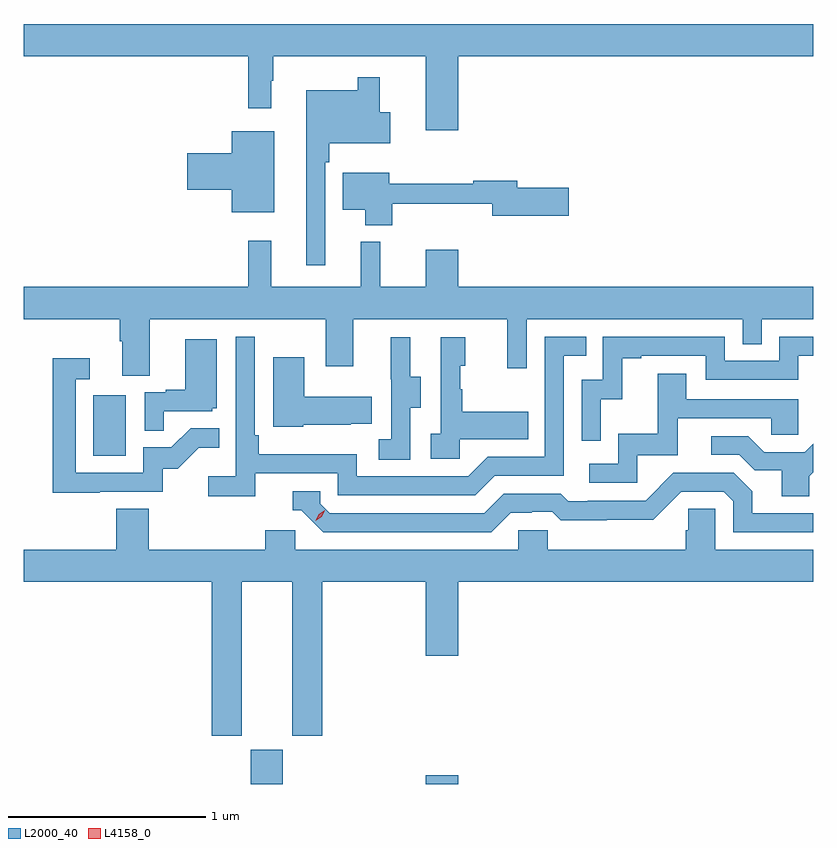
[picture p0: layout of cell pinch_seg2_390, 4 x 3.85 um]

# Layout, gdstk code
import gdstk
lib = gdstk.Library(unit=1e-6, precision=1e-09)
def R(c, l, rs):  # rectangles x0, y0, x1, y1
    for r in rs: c.add(gdstk.rectangle(r[:2], r[2:], *l))
def P(c, l, *ps):  # polygons
    for p in ps: c.add(gdstk.Polygon(p, *l))
L2000_40 = (2000, 40)
L4158_0 = (4158, 0)

pinch_seg2_390 = lib.new_cell('pinch_seg2_390')
R(pinch_seg2_390, L2000_40, [(967.316,606.652,967.48,606.825), (968.204,606.652,968.368,606.697), (966.518,608.316,966.682,608.623)])
P(pinch_seg2_390, L2000_40, [(968.368,610.34),(970.167,610.34),(970.167,610.504),(966.167,610.504),(966.167,610.34),(967.303,610.34),(967.303,610.077),(967.42,610.077),(967.42,610.217),(967.432,610.217),(967.432,610.34),(968.204,610.34),(968.204,609.966),(968.368,609.966)],
  [(967.695,609.803),(967.715,609.803),(967.715,609.899),(968.023,609.899),(968.023,610.057),(967.971,610.057),(967.971,610.234),(967.86,610.234),(967.86,610.168),(967.598,610.168),(967.598,609.282),(967.695,609.282)],
  [(967.435,609.961),(967.22,609.961),(967.22,609.848),(966.996,609.848),(966.996,609.665),(967.22,609.665),(967.22,609.551),(967.435,609.551)],
  [(968.033,609.592),(968.54,609.592),(968.54,609.532),(968.929,609.532),(968.929,609.674),(968.668,609.674),(968.668,609.71),(968.444,609.71),(968.444,609.695),(968.02,609.695),(968.02,609.751),(967.784,609.751),(967.784,609.563),(967.898,609.563),(967.898,609.485),(968.033,609.485)],
  [(966.805,609.008),(967.697,609.008),(967.697,608.769),(967.837,608.769),(967.837,609.008),(968.618,609.008),(968.618,608.76),(968.715,608.76),(968.715,609.008),(969.81,609.008),(969.81,608.881),(969.906,608.881),(969.906,609.008),(970.167,609.008),(970.167,609.172),(968.368,609.172),(968.368,609.361),(968.204,609.361),(968.204,609.172),(967.974,609.172),(967.974,609.4),(967.874,609.4),(967.874,609.172),(967.421,609.172),(967.421,609.406),(967.303,609.406),(967.303,609.172),(966.167,609.172),(966.167,609.008),(966.653,609.008),(966.653,608.896),(966.665,608.896),(966.665,608.722),(966.805,608.722)],
  [(967.34,608.226),(967.758,608.226),(967.758,608.115),(968.455,608.115),(968.554,608.214),(968.904,608.214),(968.904,608.823),(969.017,608.823),(969.017,608.919),(968.808,608.919),(968.808,608.31),(968.517,608.31),(968.418,608.211),(967.854,608.211),(967.854,608.323),(967.358,608.323),(967.358,608.419),(967.338,608.419),(967.338,608.92),(967.242,608.92),(967.242,608.212),(967.101,608.212),(967.101,608.11),(967.34,608.11)],
  [(969.09,608.603),(969.2,608.603),(969.2,608.811),(969.295,608.811),(969.295,608.823),(969.624,608.823),(969.624,608.7),(970.092,608.7),(970.092,608.823),(970.167,608.823),(970.167,608.919),(969.996,608.919),(969.996,608.796),(969.72,608.796),(969.72,608.919),(969.102,608.919),(969.102,608.7),(968.994,608.7),(968.994,608.391),(969.09,608.391)],
  [(968.124,608.56),(968.179,608.56),(968.179,608.715),(968.125,608.715),(968.125,608.917),(968.027,608.917),(968.027,608.703),(968.028,608.703),(968.028,608.399),(967.965,608.399),(967.965,608.296),(968.124,608.296)],
  [(968.376,608.399),(968.723,608.399),(968.723,608.539),(968.389,608.539),(968.389,608.654),(968.379,608.654),(968.379,608.772),(968.404,608.772),(968.404,608.917),(968.28,608.917),(968.28,608.426),(968.229,608.426),(968.229,608.301),(968.376,608.301)],
  [(966.875,608.541),(967.122,608.541),(967.122,608.556),(967.144,608.556),(967.144,608.905),(966.986,608.905),(966.986,608.65),(966.887,608.65),(966.887,608.637),(966.78,608.637),(966.78,608.443),(966.875,608.443)],
  [(967.584,608.474),(967.823,608.474),(967.823,608.477),(967.931,608.477),(967.931,608.614),(967.588,608.614),(967.588,608.815),(967.43,608.815),(967.43,608.462),(967.584,608.462)],
  [(966.551,608.133),(966.87,608.133),(966.87,608.25),(966.946,608.25),(967.053,608.357),(967.157,608.357),(967.157,608.456),(967.013,608.456),(966.915,608.358),(966.771,608.358),(966.771,608.229),(966.429,608.229),(966.429,608.703),(966.502,608.703),(966.502,608.809),(966.313,608.809),(966.313,608.128),(966.551,608.128)],
  [(969.276,608.319),(969.481,608.319),(969.481,608.505),(969.955,608.505),(969.955,608.421),(970.092,608.421),(970.092,608.601),(969.523,608.601),(969.523,608.731),(969.379,608.731),(969.379,608.428),(969.18,608.428),(969.18,608.274),(969.033,608.274),(969.033,608.178),(969.276,608.178)],
  [(970.147,608.212),(970.167,608.232),(970.167,608.376),(970.125,608.334),(969.919,608.334),(969.838,608.415),(969.651,608.415),(969.651,608.322),(969.792,608.322),(969.872,608.242),(970.007,608.242),(970.007,608.11),(970.147,608.11)],
  [(968.635,608.028),(968.742,608.028),(968.742,608.031),(968.845,608.031),(968.887,607.989),(969.12,607.989),(969.12,607.991),(969.356,607.991),(969.498,608.133),(969.714,608.133),(969.762,608.085),(969.762,607.929),(970.167,607.929),(970.167,608.025),(969.859,608.025),(969.859,608.135),(969.765,608.229),(969.459,608.229),(969.318,608.088),(969.025,608.088),(969.025,608.085),(968.926,608.085),(968.887,608.124),(968.598,608.124),(968.499,608.025),(967.716,608.025),(967.668,608.073),(967.668,608.136),(967.529,608.136),(967.529,608.04),(967.572,608.04),(967.683,607.929),(968.536,607.929)],
  [(966.8,608.048),(966.635,608.048),(966.635,607.84),(966.167,607.84),(966.167,607.676),(967.118,607.676),(967.118,606.897),(967.27,606.897),(967.27,607.676),(967.526,607.676),(967.526,606.897),(967.679,606.897),(967.679,607.676),(968.204,607.676),(968.204,607.302),(968.368,607.302),(968.368,607.676),(970.167,607.676),(970.167,607.84),(969.672,607.84),(969.672,608.048),(969.535,608.048),(969.535,607.938),(969.521,607.938),(969.521,607.84),(968.823,607.84),(968.823,607.938),(968.673,607.938),(968.673,607.84),(967.542,607.84),(967.542,607.938),(967.391,607.938),(967.391,607.84),(966.8,607.84)])
P(pinch_seg2_390, L4158_0, [(967.645,607.987),(967.645,607.987),(967.661,608.019),(967.691,608.039),(967.692,608.039),(967.692,608.038),(967.676,608.006),(967.645,607.987)])

lib.write_gds('pinch_seg2_390.gds')
